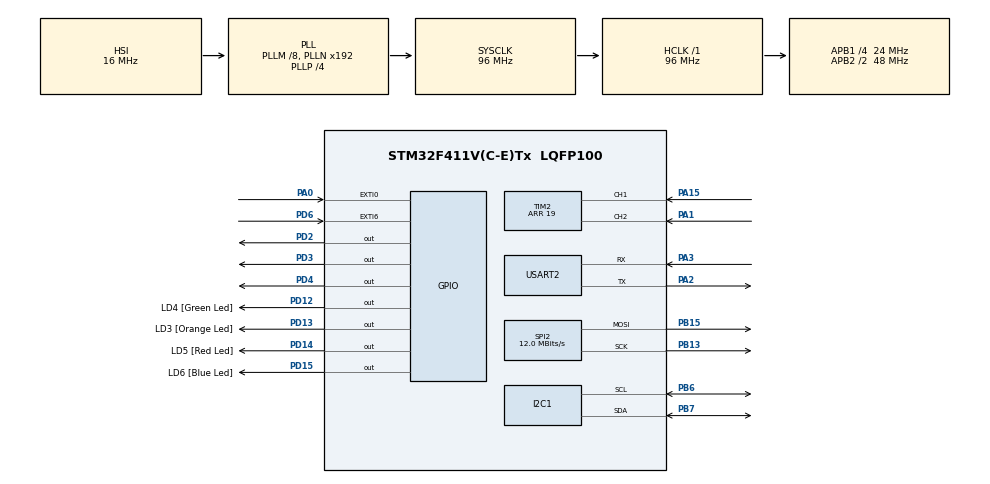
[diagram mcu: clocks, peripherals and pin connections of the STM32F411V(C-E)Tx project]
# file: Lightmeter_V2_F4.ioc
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Mcu.Family=STM32F4
Mcu.Name=STM32F411V(C-E)Tx
Mcu.Package=LQFP100
NVIC.EXTI9_5_IRQn=true\:0\:0\:false\:false\:true\:true\:true\:true
NVIC.I2C1_ER_IRQn=true\:0\:0\:false\:false\:true\:true\:true\:true
NVIC.PriorityGroup=NVIC_PRIORITYGROUP_0
NVIC.TIM2_IRQn=true\:0\:0\:false\:false\:true\:true\:true\:true
PA0-WKUP.GPIO_ModeDefaultEXTI=GPIO_MODE_EVT_RISING
PA0-WKUP.Signal=GPXTI0
PA1.Signal=S_TIM2_CH2
PA13.GPIO_Label=SWDIO
PA13.Signal=SYS_JTMS-SWDIO
PA14.GPIO_Label=SWCLK
PA14.Signal=SYS_JTCK-SWCLK
PA15.Signal=S_TIM2_CH1_ETR
PA2.Mode=Asynchronous
PA2.Signal=USART2_TX
PA3.Mode=Asynchronous
PA3.Signal=USART2_RX
PB13.Mode=TX_Only_Simplex_Unidirect_Master
PB13.Signal=SPI2_SCK
PB15.Mode=TX_Only_Simplex_Unidirect_Master
PB15.Signal=SPI2_MOSI
PB6.Mode=I2C
PB6.Signal=I2C1_SCL
PB7.Mode=I2C
PB7.Signal=I2C1_SDA
PC14-OSC32_IN.GPIO_Label=PC14-OSC32_IN
PC14-OSC32_IN.Mode=LSE-External-Oscillator
PC14-OSC32_IN.Signal=RCC_OSC32_IN
PC15-OSC32_OUT.GPIO_Label=PC15-OSC32_OUT
PC15-OSC32_OUT.Mode=LSE-External-Oscillator
PC15-OSC32_OUT.Signal=RCC_OSC32_OUT
PD12.GPIO_Label=LD4 [Green Led]
PD12.GPIO_PuPd=GPIO_NOPULL
PD12.GPIO_Speed=GPIO_SPEED_FREQ_LOW
PD12.Signal=GPIO_Output
PD13.GPIO_Label=LD3 [Orange Led]
PD13.GPIO_PuPd=GPIO_NOPULL
PD13.GPIO_Speed=GPIO_SPEED_FREQ_LOW
PD13.Signal=GPIO_Output
PD14.GPIO_Label=LD5 [Red Led]
PD14.GPIO_PuPd=GPIO_NOPULL
PD14.GPIO_Speed=GPIO_SPEED_FREQ_LOW
PD14.Signal=GPIO_Output
PD15.GPIO_Label=LD6 [Blue Led]
PD15.GPIO_PuPd=GPIO_NOPULL
PD15.GPIO_Speed=GPIO_SPEED_FREQ_LOW
PD15.Signal=GPIO_Output
PD2.Signal=GPIO_Output
PD3.Signal=GPIO_Output
PD4.Signal=GPIO_Output
PD6.GPIO_ModeDefaultEXTI=GPIO_MODE_IT_FALLING
PD6.GPIO_PuPd=GPIO_PULLUP
PD6.Signal=GPXTI6
PH0\ -\ OSC_IN.GPIO_Label=PH0-OSC_IN
PH0\ -\ OSC_IN.Mode=HSE-External-Oscillator
PH0\ -\ OSC_IN.Signal=RCC_OSC_IN
PH1\ -\ OSC_OUT.GPIO_Label=PH1-OSC_OUT
PH1\ -\ OSC_OUT.Mode=HSE-External-Oscillator
PH1\ -\ OSC_OUT.Signal=RCC_OSC_OUT
ProjectManager.HeapSize=0x200
ProjectManager.StackSize=0x400
ProjectManager.TargetToolchain=STM32CubeIDE
RCC.48MHZClocksFreq_Value=48000000
RCC.AHBFreq_Value=96000000
RCC.APB1CLKDivider=RCC_HCLK_DIV4
RCC.APB1Freq_Value=24000000
RCC.APB1TimFreq_Value=48000000
RCC.APB2CLKDivider=RCC_HCLK_DIV2
RCC.APB2Freq_Value=48000000
RCC.APB2TimFreq_Value=96000000
RCC.CortexFreq_Value=96000000
RCC.HCLKFreq_Value=96000000
RCC.HSE_VALUE=8000000
RCC.HSI_VALUE=16000000
RCC.PLLI2SM=5
RCC.PLLI2SN=200
RCC.PLLM=8
RCC.PLLP=RCC_PLLP_DIV4
RCC.PLLQ=8
RCC.SYSCLKFreq_VALUE=96000000
RCC.SYSCLKSource=RCC_SYSCLKSOURCE_PLLCLK
RCC.VCOOutputFreq_Value=384000000
SH.S_TIM2_CH1_ETR.0=TIM2_CH1,Encoder_Interface
SH.S_TIM2_CH2.0=TIM2_CH2,Encoder_Interface
SPI2.CRCCalculation=SPI_CRCCALCULATION_DISABLE
SPI2.CalculateBaudRate=12.0 MBits/s
SPI2.Direction=SPI_DIRECTION_2LINES
SPI2.Mode=SPI_MODE_MASTER
SPI2.VirtualType=VM_MASTER
TIM2.Period=19
USART2.VirtualMode=VM_ASYNC
VP_CRC_VS_CRC.Mode=CRC_Activate
board=STM32F411E-DISCO

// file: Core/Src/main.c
/* USER CODE BEGIN Header */
/**
 ******************************************************************************
 * @file           : main.c
 * @brief          : Main program body
 ******************************************************************************
 * @attention
 *
 * Copyright (c) 2024 STMicroelectronics.
 * All rights reserved.
 *
 * This software is licensed under terms that can be found in the LICENSE file
 * in the root directory of this software component.
 * If no LICENSE file comes with this software, it is provided AS-IS.
 *
 ******************************************************************************
 */
/* USER CODE END Header */
#include "main.h"
#include "crc.h"
#include "i2c.h"
#include "spi.h"
#include "tim.h"
#include "usart.h"
#include "gpio.h"

/* USER CODE BEGIN Includes */
#include "ssd1306.h"
#include "ssd1306_fonts.h"
#include "veml7700.h"
#include "camera_params.h"

//#include "ssd1306_conf.h"
/* USER CODE END Includes */

/* USER CODE BEGIN PD */
#define VEML6030_I2C_ADDRESS    0x10
//Bronica ETRS
//#define ISO_TABLE_SIZE 6
#define APERTURE_F_TABLE_SIZE 7
#define APERTURE_TIME_TABLE_SIZE 7
#define SETTINGS_NUMBER 2

/* USER CODE END PD */

/* USER CODE BEGIN PV */

APERTURE_RECTANGLE_POS_t aperture_coordinates = {5, 60, 45, 60};
EXPOSURE_RECTANGLE_POS_t exposure_coordinates = {65, 125, 45, 60};

volatile uint8_t state = 0;
volatile uint32_t counter = 0;

double aperture_f = 2.8;
uint16_t exposure_time = 8;
uint8_t EV = 0;

uint8_t exposure_time_list_index = 1;
uint8_t aperture_f_list_index = 0;

//uint16_t exposure_times_list[APERTURE_TIME_TABLE_SIZE] = {8, 15, 30, 60, 125, 250, 500};
//double apertures_f_list[APERTURE_F_TABLE_SIZE] = {2.8, 4.0, 5.6, 8.0, 11.0, 16.0, 22.0};
/* USER CODE END PV */

void SystemClock_Config(void);

/* USER CODE BEGIN 0 */
void set_initial_veml_params(veml6030 veml){
	veml6030_init(&veml, &hi2c1, VEML6030_I2C_ADDRESS);
	veml6030_power_on(&veml);
	veml6030_set_als_integration_time(&veml, REG_ALS_CONF_IT25);
	veml6030_set_als_gain(&veml, REG_ALS_CONF_GAIN_1_8);
}

void display_initial_description(void){
	ssd1306_SetCursor(0, 30);
	ssd1306_WriteString("Aperture:", Font_6x8, White);
	ssd1306_SetCursor(60, 30);
	ssd1306_WriteString("Exposure:", Font_6x8, White);
	ssd1306_UpdateScreen();
}

uint16_t the_closest_integer_from_list(uint16_t value, uint16_t *arr, size_t size) {
	uint16_t closest = *arr;  // Initialize with the first element
    uint16_t min_diff = abs(value - *arr);  // Compute the absolute difference

    for (size_t i = 1; i < size; i++) {
    	uint16_t diff = abs(value - *(arr+i));  // Calculate the difference for the current element

        if (diff < min_diff) {
            min_diff = diff;
            closest = *(arr+i);  // Update the closest value
        }
    }
    return closest;
}

double the_closest_double_from_list(double value, double *arr, size_t size) {
	double closest = *arr;  // Initialize with the first element
    double min_diff = fabs(value - *arr);  // Compute the absolute difference

    for (size_t i = 1; i < size; i++) {
        double diff = fabs(value - *(arr+i));  // Calculate the difference for the current element

        if (diff < min_diff) {
            min_diff = diff;
            closest = *(arr+i);  // Update the closest value
        }
    }
    return closest;
}
/* USER CODE END 0 */

int main(void)
{
  /* USER CODE BEGIN 1 */

	uint16_t als = 0;
  /* USER CODE END 1 */

  /* MCU Configuration--------------------------------------------------------*/

  /* Reset of all peripherals, Initializes the Flash interface and the Systick. */
  HAL_Init();

  /* Configure the system clock */
  SystemClock_Config();

  /* Initialize all configured peripherals */
  MX_GPIO_Init();
  MX_I2C1_Init();
  MX_SPI2_Init();
  MX_TIM2_Init();
  MX_USART2_UART_Init();
  MX_CRC_Init();
  /* USER CODE BEGIN 2 */
	HAL_TIM_Encoder_Start_IT(&htim2, TIM_CHANNEL_ALL);
	HAL_TIM_IC_Start_IT(&htim2, TIM_CHANNEL_ALL);
	ssd1306_Init();
	display_initial_description();
	veml6030 veml;
	set_initial_veml_params(veml);
  /* USER CODE END 2 */

  /* Infinite loop */
  /* USER CODE BEGIN WHILE */
	while (1)
	{
		als = veml6030_read_als(&veml);
		uint32_t lux_als = (uint32_t)RESOLUTION*als;
		uint32_t lux_als_correction =  (uint32_t)((6.0135e-13*lux_als*lux_als*lux_als*lux_als)-(9.3924e-9*lux_als*lux_als*lux_als)+(8.1488e-5*lux_als*lux_als)+1.0023*lux_als);
		EV = (uint8_t)(log10(lux_als_correction/2.5)/0.3);

		if (state == 0){
			exposure_time = (uint16_t)(1.0/((aperture_f*aperture_f)/(pow(2, EV))));
			size_t time_list_size = APERTURE_TIME_TABLE_SIZE;
			exposure_time = the_closest_integer_from_list(exposure_time, exposure_times_list, time_list_size);
		}
		if (state == 1){
			aperture_f = sqrt(pow(2,EV)*(1.0/exposure_time));
			size_t f_list_size = APERTURE_F_TABLE_SIZE;
			aperture_f = the_closest_double_from_list(aperture_f, apertures_f_list, f_list_size);
		}
		if (state == 2){
			exposure_time = (uint16_t)(1.0/((aperture_f*aperture_f)/(pow(2, EV))));
			size_t time_list_size = APERTURE_TIME_TABLE_SIZE;
			exposure_time = the_closest_integer_from_list(exposure_time, exposure_times_list, time_list_size);
		}

		char lux_screen[11];
		char EV_screen[6];

		sprintf(lux_screen,"LUX:%06d", lux_als_correction);
		sprintf(EV_screen,"EV:%02d", EV);
		ssd1306_SetCursor(0, 10);
		ssd1306_WriteString(EV_screen, Font_6x8, White);
		ssd1306_SetCursor(60, 10);
		ssd1306_WriteString(lux_screen, Font_6x8, White);

		char aperture_screen[8];
		char time_screen[9];
		sprintf(aperture_screen,"f/%.1f", aperture_f);
		sprintf(time_screen,"1/%3d [s]", exposure_time);
		ssd1306_SetCursor(10, 50);
		ssd1306_WriteString(aperture_screen, Font_6x8, White);
		ssd1306_SetCursor(70, 50);
		ssd1306_WriteString(time_screen, Font_6x8, White);
		ssd1306_UpdateScreen();

    /* USER CODE END WHILE */

	}
}

void SystemClock_Config(void)
{
  RCC_OscInitTypeDef RCC_OscInitStruct = {0};
  RCC_ClkInitTypeDef RCC_ClkInitStruct = {0};

  /** Configure the main internal regulator output voltage
  */
  __HAL_RCC_PWR_CLK_ENABLE();
  __HAL_PWR_VOLTAGESCALING_CONFIG(PWR_REGULATOR_VOLTAGE_SCALE1);

  /** Initializes the RCC Oscillators according to the specified parameters
  * in the RCC_OscInitTypeDef structure.
  */
  RCC_OscInitStruct.OscillatorType = RCC_OSCILLATORTYPE_HSI;
  RCC_OscInitStruct.HSIState = RCC_HSI_ON;
  RCC_OscInitStruct.HSICalibrationValue = RCC_HSICALIBRATION_DEFAULT;
  RCC_OscInitStruct.PLL.PLLState = RCC_PLL_ON;
  RCC_OscInitStruct.PLL.PLLSource = RCC_PLLSOURCE_HSI;
  RCC_OscInitStruct.PLL.PLLM = 8;
  RCC_OscInitStruct.PLL.PLLN = 192;
  RCC_OscInitStruct.PLL.PLLP = RCC_PLLP_DIV4;
  RCC_OscInitStruct.PLL.PLLQ = 8;
  if (HAL_RCC_OscConfig(&RCC_OscInitStruct) != HAL_OK)
  {
    Error_Handler();
  }

  /** Initializes the CPU, AHB and APB buses clocks
  */
  RCC_ClkInitStruct.ClockType = RCC_CLOCKTYPE_HCLK|RCC_CLOCKTYPE_SYSCLK
                              |RCC_CLOCKTYPE_PCLK1|RCC_CLOCKTYPE_PCLK2;
  RCC_ClkInitStruct.SYSCLKSource = RCC_SYSCLKSOURCE_PLLCLK;
  RCC_ClkInitStruct.AHBCLKDivider = RCC_SYSCLK_DIV1;
  RCC_ClkInitStruct.APB1CLKDivider = RCC_HCLK_DIV4;
  RCC_ClkInitStruct.APB2CLKDivider = RCC_HCLK_DIV2;

  if (HAL_RCC_ClockConfig(&RCC_ClkInitStruct, FLASH_LATENCY_3) != HAL_OK)
  {
    Error_Handler();
  }
}

/* USER CODE BEGIN 4 */
void HAL_GPIO_EXTI_Callback(uint16_t GPIO_Pin){
	if(GPIO_Pin == GPIO_PIN_6){
		state = (state+1)%SETTINGS_NUMBER;
		if(state == 0){
			ssd1306_DrawRectangle(exposure_coordinates.x1, exposure_coordinates.y1, exposure_coordinates.x2, exposure_coordinates.y2, Black);
			ssd1306_DrawRectangle(aperture_coordinates.x1, aperture_coordinates.y1, aperture_coordinates.x2, aperture_coordinates.y2, White);
		}
		else{
			ssd1306_DrawRectangle(aperture_coordinates.x1, aperture_coordinates.y1, aperture_coordinates.x2, aperture_coordinates.y2, Black);
			ssd1306_DrawRectangle(exposure_coordinates.x1, exposure_coordinates.y1, exposure_coordinates.x2, exposure_coordinates.y2, White);
		}
//		HAL_GPIO_TogglePin(GPIOB, GPIO_PIN_3);
	}
}
void HAL_TIM_IC_CaptureCallback(TIM_HandleTypeDef *htim){
	if(htim==&htim2){

		switch (HAL_TIM_GetActiveChannel(&htim2)){
		case HAL_TIM_ACTIVE_CHANNEL_1:
			counter = HAL_TIM_ReadCapturedValue(&htim2, TIM_CHANNEL_1);
			break;

		case HAL_TIM_ACTIVE_CHANNEL_2:
			counter = HAL_TIM_ReadCapturedValue(&htim2, TIM_CHANNEL_2);
			break;
		default:
			break;
		}
		if(state==0){
			//change aperture -> recalculate aperture time
			aperture_f_list_index = counter%APERTURE_F_TABLE_SIZE;
			aperture_f = apertures_f_list[aperture_f_list_index];
			exposure_time = (uint16_t)(1.0/((aperture_f*aperture_f)/(pow(2, EV))));
			exposure_time = the_closest_integer_from_list(exposure_time, exposure_times_list, APERTURE_TIME_TABLE_SIZE);

		}
		else if(state==1){
			//change aperture time -> recalculate aperture
			exposure_time_list_index = counter%APERTURE_TIME_TABLE_SIZE;
			exposure_time = exposure_times_list[exposure_time_list_index];
			aperture_f = sqrt(pow(2,EV)*(1/exposure_time));
			aperture_f = the_closest_double_from_list(aperture_f, apertures_f_list, APERTURE_F_TABLE_SIZE);
		}
	}
}

/* USER CODE END 4 */

void Error_Handler(void)
{
	__disable_irq();
	while (1)
	{
	}
}
